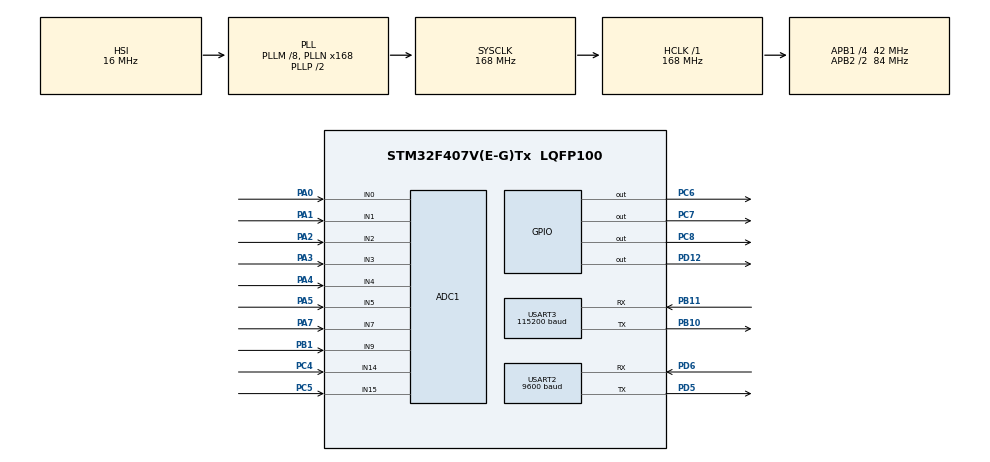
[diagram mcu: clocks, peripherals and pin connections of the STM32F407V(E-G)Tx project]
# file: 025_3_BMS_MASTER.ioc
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ADC1.Channel-0\#ChannelRegularConversion=ADC_CHANNEL_VREFINT
ADC1.Channel-1\#ChannelRegularConversion=ADC_CHANNEL_0
ADC1.Channel-10\#ChannelRegularConversion=ADC_CHANNEL_15
ADC1.Channel-2\#ChannelRegularConversion=ADC_CHANNEL_1
ADC1.Channel-3\#ChannelRegularConversion=ADC_CHANNEL_2
ADC1.Channel-4\#ChannelRegularConversion=ADC_CHANNEL_3
ADC1.Channel-5\#ChannelRegularConversion=ADC_CHANNEL_4
ADC1.Channel-6\#ChannelRegularConversion=ADC_CHANNEL_5
ADC1.Channel-7\#ChannelRegularConversion=ADC_CHANNEL_9
ADC1.Channel-8\#ChannelRegularConversion=ADC_CHANNEL_7
ADC1.Channel-9\#ChannelRegularConversion=ADC_CHANNEL_14
ADC1.ContinuousConvMode=ENABLE
ADC1.DMAContinuousRequests=ENABLE
ADC1.NbrOfConversion=11
ADC1.NbrOfConversionFlag=1
ADC1.Rank-0\#ChannelRegularConversion=1
ADC1.Rank-1\#ChannelRegularConversion=2
ADC1.Rank-10\#ChannelRegularConversion=11
ADC1.Rank-2\#ChannelRegularConversion=3
ADC1.Rank-3\#ChannelRegularConversion=4
ADC1.Rank-4\#ChannelRegularConversion=5
ADC1.Rank-5\#ChannelRegularConversion=6
ADC1.Rank-6\#ChannelRegularConversion=7
ADC1.Rank-7\#ChannelRegularConversion=8
ADC1.Rank-8\#ChannelRegularConversion=9
ADC1.Rank-9\#ChannelRegularConversion=10
ADC1.SamplingTime-0\#ChannelRegularConversion=ADC_SAMPLETIME_84CYCLES
ADC1.SamplingTime-1\#ChannelRegularConversion=ADC_SAMPLETIME_84CYCLES
ADC1.SamplingTime-10\#ChannelRegularConversion=ADC_SAMPLETIME_84CYCLES
ADC1.SamplingTime-2\#ChannelRegularConversion=ADC_SAMPLETIME_84CYCLES
ADC1.SamplingTime-3\#ChannelRegularConversion=ADC_SAMPLETIME_84CYCLES
ADC1.SamplingTime-4\#ChannelRegularConversion=ADC_SAMPLETIME_84CYCLES
ADC1.SamplingTime-5\#ChannelRegularConversion=ADC_SAMPLETIME_84CYCLES
ADC1.SamplingTime-6\#ChannelRegularConversion=ADC_SAMPLETIME_84CYCLES
ADC1.SamplingTime-7\#ChannelRegularConversion=ADC_SAMPLETIME_84CYCLES
ADC1.SamplingTime-8\#ChannelRegularConversion=ADC_SAMPLETIME_84CYCLES
ADC1.SamplingTime-9\#ChannelRegularConversion=ADC_SAMPLETIME_84CYCLES
ADC1.ScanConvMode=ENABLE
ADC1.master=1
Dma.ADC1.1.Direction=DMA_PERIPH_TO_MEMORY
Dma.ADC1.1.FIFOMode=DMA_FIFOMODE_DISABLE
Dma.ADC1.1.Instance=DMA2_Stream0
Dma.ADC1.1.MemDataAlignment=DMA_MDATAALIGN_HALFWORD
Dma.ADC1.1.MemInc=DMA_MINC_ENABLE
Dma.ADC1.1.Mode=DMA_CIRCULAR
Dma.ADC1.1.PeriphDataAlignment=DMA_PDATAALIGN_HALFWORD
Dma.ADC1.1.PeriphInc=DMA_PINC_DISABLE
Dma.ADC1.1.Priority=DMA_PRIORITY_HIGH
Dma.Request0=USART2_RX
Dma.Request1=ADC1
Dma.USART2_RX.0.Direction=DMA_PERIPH_TO_MEMORY
Dma.USART2_RX.0.FIFOMode=DMA_FIFOMODE_DISABLE
Dma.USART2_RX.0.Instance=DMA1_Stream5
Dma.USART2_RX.0.MemDataAlignment=DMA_MDATAALIGN_BYTE
Dma.USART2_RX.0.MemInc=DMA_MINC_ENABLE
Dma.USART2_RX.0.Mode=DMA_NORMAL
Dma.USART2_RX.0.PeriphDataAlignment=DMA_PDATAALIGN_BYTE
Dma.USART2_RX.0.PeriphInc=DMA_PINC_DISABLE
Dma.USART2_RX.0.Priority=DMA_PRIORITY_MEDIUM
Mcu.Family=STM32F4
Mcu.Name=STM32F407V(E-G)Tx
Mcu.Package=LQFP100
NVIC.DMA1_Stream5_IRQn=true\:0\:0\:false\:false\:true\:false\:true
NVIC.DMA2_Stream0_IRQn=true\:0\:0\:false\:false\:true\:false\:true
NVIC.PriorityGroup=NVIC_PRIORITYGROUP_4
PA0-WKUP.Signal=ADCx_IN0
PA1.Signal=ADCx_IN1
PA13.Mode=Serial_Wire
PA13.Signal=SYS_JTMS-SWDIO
PA14.Mode=Serial_Wire
PA14.Signal=SYS_JTCK-SWCLK
PA2.Signal=ADCx_IN2
PA3.Signal=ADCx_IN3
PA4.Signal=ADCx_IN4
PA5.Signal=ADCx_IN5
PA7.Signal=ADCx_IN7
PB1.Signal=ADCx_IN9
PB10.Mode=Asynchronous
PB10.Signal=USART3_TX
PB11.Mode=Asynchronous
PB11.Signal=USART3_RX
PC4.Signal=ADCx_IN14
PC5.Signal=ADCx_IN15
PC6.GPIO_PuPd=GPIO_PULLDOWN
PC6.Signal=GPIO_Output
PC7.GPIO_PuPd=GPIO_PULLDOWN
PC7.Signal=GPIO_Output
PC8.GPIO_PuPd=GPIO_PULLUP
PC8.PinState=GPIO_PIN_SET
PC8.Signal=GPIO_Output
PD12.Signal=GPIO_Output
PD5.Mode=Asynchronous
PD5.Signal=USART2_TX
PD6.Mode=Asynchronous
PD6.Signal=USART2_RX
PH0-OSC_IN.Mode=HSE-External-Oscillator
PH0-OSC_IN.Signal=RCC_OSC_IN
PH1-OSC_OUT.Mode=HSE-External-Oscillator
PH1-OSC_OUT.Signal=RCC_OSC_OUT
ProjectManager.HeapSize=0x200
ProjectManager.StackSize=0x400
ProjectManager.TargetToolchain=STM32CubeIDE
RCC.48MHZClocksFreq_Value=84000000
RCC.AHBFreq_Value=168000000
RCC.APB1CLKDivider=RCC_HCLK_DIV4
RCC.APB1Freq_Value=42000000
RCC.APB1TimFreq_Value=84000000
RCC.APB2CLKDivider=RCC_HCLK_DIV2
RCC.APB2Freq_Value=84000000
RCC.APB2TimFreq_Value=168000000
RCC.CortexFreq_Value=168000000
RCC.HCLKFreq_Value=168000000
RCC.HSE_VALUE=8000000
RCC.HSI_VALUE=16000000
RCC.LSE_VALUE=32768
RCC.PLLM=8
RCC.PLLN=168
RCC.SYSCLKFreq_VALUE=168000000
RCC.SYSCLKSource=RCC_SYSCLKSOURCE_PLLCLK
RCC.VCOOutputFreq_Value=336000000
SH.ADCx_IN0.0=ADC1_IN0,IN0
SH.ADCx_IN1.0=ADC1_IN1,IN1
SH.ADCx_IN14.0=ADC1_IN14,IN14
SH.ADCx_IN15.0=ADC1_IN15,IN15
SH.ADCx_IN2.0=ADC1_IN2,IN2
SH.ADCx_IN3.0=ADC1_IN3,IN3
SH.ADCx_IN4.0=ADC1_IN4,IN4
SH.ADCx_IN5.0=ADC1_IN5,IN5
SH.ADCx_IN7.0=ADC1_IN7,IN7
SH.ADCx_IN9.0=ADC1_IN9,IN9
USART2.BaudRate=9600
USART2.VirtualMode=VM_ASYNC
USART3.BaudRate=115200
USART3.VirtualMode=VM_ASYNC
VP_ADC1_Vref_Input.Mode=IN-Vrefint
board=custom

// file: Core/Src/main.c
/* USER CODE BEGIN Header */
/**
  ******************************************************************************
  * @file           : main.c
  * @brief          : Main program body
  ******************************************************************************
  * @attention
  *
  * <h2><center>&copy; Copyright (c) 2021 STMicroelectronics.
  * All rights reserved.</center></h2>
  *
  * This software component is licensed by ST under BSD 3-Clause license,
  * the "License"; You may not use this file except in compliance with the
  * License. You may obtain a copy of the License at:
  *                        opensource.org/licenses/BSD-3-Clause
  *
  ******************************************************************************
  */
/* USER CODE END Header */
#include "main.h"

/* USER CODE BEGIN Includes */

#include "stdio.h"
#include "string.h"
#define VREFIN_CAL ((uint16_t*)((uint32_t)0x1FFF7A2A))

/* USER CODE END Includes */

ADC_HandleTypeDef hadc1;
DMA_HandleTypeDef hdma_adc1;

UART_HandleTypeDef huart2;
UART_HandleTypeDef huart3;
DMA_HandleTypeDef hdma_usart2_rx;

/* USER CODE BEGIN PV */
char al[89] = "";
int  pil[89];
int i=0, j=0;
float piller[16];
float cel[16];

char aksgonder[140] = "";
float Vdda = 0;
float test = 0;
uint16_t adc_value[11];
float V_CEL[4];
float hucre[4];

float CEL_4[4];
float CEL_20[20];
float cel15;
float temp[5];

/* USER CODE END PV */

void SystemClock_Config(void);
static void MX_GPIO_Init(void);
static void MX_DMA_Init(void);
static void MX_USART2_UART_Init(void);
static void MX_ADC1_Init(void);
static void MX_USART3_UART_Init(void);

int main(void)
{

  /* MCU Configuration--------------------------------------------------------*/

  /* Reset of all peripherals, Initializes the Flash interface and the Systick. */
  HAL_Init();

  /* Configure the system clock */
  SystemClock_Config();

  /* Initialize all configured peripherals */
  MX_GPIO_Init();
  MX_DMA_Init();
  MX_USART2_UART_Init();
  MX_ADC1_Init();
  MX_USART3_UART_Init();
  /* USER CODE BEGIN 2 */
  // ik 4 gerilim, 5. sıcaklık , 6-7-8-9-10 sıcaklık değeri
  HAL_ADC_Start_DMA(&hadc1, (uint32_t*)adc_value, 11);
  HAL_GPIO_WritePin(GPIOC, GPIO_PIN_6, SET);

  /* USER CODE END 2 */

  /* Infinite loop */
  /* USER CODE BEGIN WHILE */
  while (1)
  {
	  HAL_GPIO_WritePin(GPIOD, GPIO_PIN_12, SET);
	  //SICAKLIK KISMI
	  for(i=6; 11 > i; i++)
	  {

		  temp[j]=adc_value[i];

		  temp[j]=temp[j]/4095 * Vdda * 100;
		  if(temp[j]>40)
		  {
			  HAL_GPIO_WritePin(GPIOC, GPIO_PIN_8, RESET);
			  if(temp[j]>60)
			  {
				  HAL_GPIO_WritePin(GPIOC, GPIO_PIN_7, SET);
				  if(temp[j]>70)
				  {
					  HAL_GPIO_WritePin(GPIOC, GPIO_PIN_6, RESET);
				  }

			  }
			  else
			  {
				  HAL_GPIO_WritePin(GPIOC, GPIO_PIN_7, RESET);
			  }
		  }
		  else
		  {
			  HAL_GPIO_WritePin(GPIOC, GPIO_PIN_8, SET);
		  }
		  //*100;
		  j++;
	  }
	  j=0;

	  //ADC kısmı
	  test = adc_value[0];
	  Vdda = (float) 3.3 * (*VREFIN_CAL) / test;
	  for(i=1; 4 >= i; i++)
	  {
		  V_CEL[i-1] = adc_value[i];
	  }
	  for(i=0; 3 >= i; i++)
	  {
		  hucre[i] = V_CEL[i] / 4095 * Vdda;
		  V_CEL[i] = V_CEL[i] / 4095 * Vdda;
	  }

	  V_CEL[0] = V_CEL[0] * (22000+680) / 680 * (1.70299/1.719); // GERİLİM BÖLÜCÜ 22K-680K
	  V_CEL[1] = V_CEL[1] * (22000+680) / 680 * (1.80493/1.815); // GERİLİM BÖLÜCÜ 22K-680K
	  V_CEL[2] = V_CEL[2] * (22000+680) / 680 * (1.90687/1.897); // GERİLİM BÖLÜCÜ 22K-680K
	  V_CEL[3] = V_CEL[3] * (22000+680) / 680 * (2.00582/2.041); // GERİLİM BÖLÜCÜ 22K-680K

	  CEL_20[16]=V_CEL[0]-cel15;
	  CEL_20[17]=V_CEL[1]-V_CEL[0];
	  CEL_20[18]=V_CEL[2]-V_CEL[1];
	  CEL_20[19]=V_CEL[3]-V_CEL[2];

//	  HAL_GPIO_TogglePin(GPIOC, GPIO_PIN_6);
//	  HAL_GPIO_TogglePin(GPIOC, GPIO_PIN_7);
//	  HAL_GPIO_TogglePin(GPIOC, GPIO_PIN_8);
//	  HAL_Delay(2000);

	  // UART DAN GELEN VERİYİ KAYDETME KISMI
	 	  HAL_UART_Receive_DMA(&huart2, (uint8_t*)al, 89);
	 	//  HAL_Delay(200);
	 	  for(i=0; 89>i;i++)
	 	  {
	 		  pil[i]=al[i];
	 		  switch(pil[i])
	 		  {

	 		  case 48:
	 		 	  pil[i]=0;
	 		 	  break;
	 		  case 49:
	 			  pil[i]=1;
	 			  break;
	 		  case 50:
	 			  pil[i]=2;
	 			  break;
	 		  case 51:
	 			  pil[i]=3;
	 			  break;
	 		  case 52:
	 			  pil[i]=4;
	 			  break;
	 		  case 53:
	 			  pil[i]=5;
	 			  break;
	 		  case 54:
	 			  pil[i]=6;
	 			  break;
	 		  case 55:
	 			  pil[i]=7;
	 			  break;
	 		  case 56:
	 			  pil[i]=8;
	 			  break;
	 		  case 57:
	 			  pil[i]=9;
	 			  break;
	 		  case 42: //* işareti
	 			  pil[i]=0;
	 			  break;
	 		  case 46:// . işareti
	 			  pil[i]=0;
	 			  break;
	 		  case 44:// , işareti
	 			  pil[i]=0;
	 			  break;
	 		  default:
	 			  break;
	 		  }
	 	  }

	 		 cel[0]=pil[0]*100+pil[2]*10+pil[3];
	 		 cel[1]=pil[5]*100+pil[6]*10+pil[7];
	 		 cel[2]=pil[10]*100+pil[12]*10+pil[13];
	 		 cel[3]=pil[15]*100+pil[17]*10+pil[18];
	 		 cel[4]=pil[20]*100+pil[22]*10+pil[23];
	 		 cel[5]=pil[25]*100+pil[27]*10+pil[28];
	 		 cel[6]=pil[30]*100+pil[32]*10+pil[33];
	 		 cel[7]=pil[35]*100+pil[37]*10+pil[38];
	 		 cel[8]=pil[40]*100+pil[42]*10+pil[43];
	 		 cel[9]=pil[45]*100+pil[47]*10+pil[48];
	 		 cel[10]=pil[50]*100+pil[52]*10+pil[53];
	 		 cel[11]=pil[55]*100+pil[57]*10+pil[58];
	 		 cel[12]=pil[60]*100+pil[62]*10+pil[63];
	 		 cel[13]=pil[65]*100+pil[67]*10+pil[68];
	 		 cel[14]=pil[70]*100+pil[72]*10+pil[73];
	 		 cel[15]=pil[75]*100+pil[77]*10+pil[78];

	 		 cel15=pil[80]*100000+pil[81]*10000+pil[83]*1000+pil[84]*100+pil[85]*10+pil[86];
	 		 cel15=cel15/10000;
	 		 for(i=0; 15 >= i;i++)
	 		 {
	 			CEL_20[i]=cel[i]/100;
	 		 }
	 		  sprintf(aksgonder, "#,%.1f,%.1f,%.1f,%.1f,%.1f,%.1f,%.1f,%.1f,%.1f,%.1f,%.1f,%.1f,%.1f,%.1f,%.1f,%.1f,%.1f,%.1f,%.1f,%.1f,"
	 				  "%.2f,%.1f,%.2f,%.2f,%.2f,%.2f,%.2f,0.0*", CEL_20[0], CEL_20[1],
	 				 CEL_20[2], CEL_20[3], CEL_20[4], CEL_20[5], CEL_20[6], CEL_20[7], CEL_20[8], CEL_20[9], CEL_20[10], CEL_20[11], CEL_20[12],
					 CEL_20[13], CEL_20[14], CEL_20[15], CEL_20[16], CEL_20[17], CEL_20[18], CEL_20[19], V_CEL[3],adc_value[5],temp[0],temp[1],temp[2],temp[3],temp[4]);

 	 		  if(HAL_UART_Transmit(&huart3, (uint8_t*)aksgonder, 140, 5000)!=HAL_OK)
	 	//strlen(gonder)
	 		  {
	 			  Error_Handler();
	 		  }
//,temp[0],temp[1],temp[2],temp[3],temp[4]
//%.2f,%.2f,%.2f,%.2f,%.2f
	 	  HAL_Delay(200);
    /* USER CODE END WHILE */

  }
}

void SystemClock_Config(void)
{
  RCC_OscInitTypeDef RCC_OscInitStruct = {0};
  RCC_ClkInitTypeDef RCC_ClkInitStruct = {0};

  /** Configure the main internal regulator output voltage
  */
  __HAL_RCC_PWR_CLK_ENABLE();
  __HAL_PWR_VOLTAGESCALING_CONFIG(PWR_REGULATOR_VOLTAGE_SCALE1);
  /** Initializes the RCC Oscillators according to the specified parameters
  * in the RCC_OscInitTypeDef structure.
  */
  RCC_OscInitStruct.OscillatorType = RCC_OSCILLATORTYPE_HSI;
  RCC_OscInitStruct.HSIState = RCC_HSI_ON;
  RCC_OscInitStruct.HSICalibrationValue = RCC_HSICALIBRATION_DEFAULT;
  RCC_OscInitStruct.PLL.PLLState = RCC_PLL_ON;
  RCC_OscInitStruct.PLL.PLLSource = RCC_PLLSOURCE_HSI;
  RCC_OscInitStruct.PLL.PLLM = 8;
  RCC_OscInitStruct.PLL.PLLN = 168;
  RCC_OscInitStruct.PLL.PLLP = RCC_PLLP_DIV2;
  RCC_OscInitStruct.PLL.PLLQ = 4;
  if (HAL_RCC_OscConfig(&RCC_OscInitStruct) != HAL_OK)
  {
    Error_Handler();
  }
  /** Initializes the CPU, AHB and APB buses clocks
  */
  RCC_ClkInitStruct.ClockType = RCC_CLOCKTYPE_HCLK|RCC_CLOCKTYPE_SYSCLK
                              |RCC_CLOCKTYPE_PCLK1|RCC_CLOCKTYPE_PCLK2;
  RCC_ClkInitStruct.SYSCLKSource = RCC_SYSCLKSOURCE_PLLCLK;
  RCC_ClkInitStruct.AHBCLKDivider = RCC_SYSCLK_DIV1;
  RCC_ClkInitStruct.APB1CLKDivider = RCC_HCLK_DIV4;
  RCC_ClkInitStruct.APB2CLKDivider = RCC_HCLK_DIV2;

  if (HAL_RCC_ClockConfig(&RCC_ClkInitStruct, FLASH_LATENCY_5) != HAL_OK)
  {
    Error_Handler();
  }
}

static void MX_ADC1_Init(void)
{

  ADC_ChannelConfTypeDef sConfig = {0};

  /** Configure the global features of the ADC (Clock, Resolution, Data Alignment and number of conversion)
  */
  hadc1.Instance = ADC1;
  hadc1.Init.ClockPrescaler = ADC_CLOCK_SYNC_PCLK_DIV4;
  hadc1.Init.Resolution = ADC_RESOLUTION_12B;
  hadc1.Init.ScanConvMode = ENABLE;
  hadc1.Init.ContinuousConvMode = ENABLE;
  hadc1.Init.DiscontinuousConvMode = DISABLE;
  hadc1.Init.ExternalTrigConvEdge = ADC_EXTERNALTRIGCONVEDGE_NONE;
  hadc1.Init.ExternalTrigConv = ADC_SOFTWARE_START;
  hadc1.Init.DataAlign = ADC_DATAALIGN_RIGHT;
  hadc1.Init.NbrOfConversion = 11;
  hadc1.Init.DMAContinuousRequests = ENABLE;
  hadc1.Init.EOCSelection = ADC_EOC_SINGLE_CONV;
  if (HAL_ADC_Init(&hadc1) != HAL_OK)
  {
    Error_Handler();
  }
  /** Configure for the selected ADC regular channel its corresponding rank in the sequencer and its sample time.
  */
  sConfig.Channel = ADC_CHANNEL_VREFINT;
  sConfig.Rank = 1;
  sConfig.SamplingTime = ADC_SAMPLETIME_84CYCLES;
  if (HAL_ADC_ConfigChannel(&hadc1, &sConfig) != HAL_OK)
  {
    Error_Handler();
  }
  /** Configure for the selected ADC regular channel its corresponding rank in the sequencer and its sample time.
  */
  sConfig.Channel = ADC_CHANNEL_0;
  sConfig.Rank = 2;
  if (HAL_ADC_ConfigChannel(&hadc1, &sConfig) != HAL_OK)
  {
    Error_Handler();
  }
  /** Configure for the selected ADC regular channel its corresponding rank in the sequencer and its sample time.
  */
  sConfig.Channel = ADC_CHANNEL_1;
  sConfig.Rank = 3;
  if (HAL_ADC_ConfigChannel(&hadc1, &sConfig) != HAL_OK)
  {
    Error_Handler();
  }
  /** Configure for the selected ADC regular channel its corresponding rank in the sequencer and its sample time.
  */
  sConfig.Channel = ADC_CHANNEL_2;
  sConfig.Rank = 4;
  if (HAL_ADC_ConfigChannel(&hadc1, &sConfig) != HAL_OK)
  {
    Error_Handler();
  }
  /** Configure for the selected ADC regular channel its corresponding rank in the sequencer and its sample time.
  */
  sConfig.Channel = ADC_CHANNEL_3;
  sConfig.Rank = 5;
  if (HAL_ADC_ConfigChannel(&hadc1, &sConfig) != HAL_OK)
  {
    Error_Handler();
  }
  /** Configure for the selected ADC regular channel its corresponding rank in the sequencer and its sample time.
  */
  sConfig.Channel = ADC_CHANNEL_4;
  sConfig.Rank = 6;
  if (HAL_ADC_ConfigChannel(&hadc1, &sConfig) != HAL_OK)
  {
    Error_Handler();
  }
  /** Configure for the selected ADC regular channel its corresponding rank in the sequencer and its sample time.
  */
  sConfig.Channel = ADC_CHANNEL_5;
  sConfig.Rank = 7;
  if (HAL_ADC_ConfigChannel(&hadc1, &sConfig) != HAL_OK)
  {
    Error_Handler();
  }
  /** Configure for the selected ADC regular channel its corresponding rank in the sequencer and its sample time.
  */
  sConfig.Channel = ADC_CHANNEL_9;
  sConfig.Rank = 8;
  if (HAL_ADC_ConfigChannel(&hadc1, &sConfig) != HAL_OK)
  {
    Error_Handler();
  }
  /** Configure for the selected ADC regular channel its corresponding rank in the sequencer and its sample time.
  */
  sConfig.Channel = ADC_CHANNEL_7;
  sConfig.Rank = 9;
  if (HAL_ADC_ConfigChannel(&hadc1, &sConfig) != HAL_OK)
  {
    Error_Handler();
  }
  /** Configure for the selected ADC regular channel its corresponding rank in the sequencer and its sample time.
  */
  sConfig.Channel = ADC_CHANNEL_14;
  sConfig.Rank = 10;
  if (HAL_ADC_ConfigChannel(&hadc1, &sConfig) != HAL_OK)
  {
    Error_Handler();
  }
  /** Configure for the selected ADC regular channel its corresponding rank in the sequencer and its sample time.
  */
  sConfig.Channel = ADC_CHANNEL_15;
  sConfig.Rank = 11;
  if (HAL_ADC_ConfigChannel(&hadc1, &sConfig) != HAL_OK)
  {
    Error_Handler();
  }

}

static void MX_USART2_UART_Init(void)
{

  huart2.Instance = USART2;
  huart2.Init.BaudRate = 9600;
  huart2.Init.WordLength = UART_WORDLENGTH_8B;
  huart2.Init.StopBits = UART_STOPBITS_1;
  huart2.Init.Parity = UART_PARITY_NONE;
  huart2.Init.Mode = UART_MODE_TX_RX;
  huart2.Init.HwFlowCtl = UART_HWCONTROL_NONE;
  huart2.Init.OverSampling = UART_OVERSAMPLING_16;
  if (HAL_UART_Init(&huart2) != HAL_OK)
  {
    Error_Handler();
  }

}

static void MX_USART3_UART_Init(void)
{

  huart3.Instance = USART3;
  huart3.Init.BaudRate = 115200;
  huart3.Init.WordLength = UART_WORDLENGTH_8B;
  huart3.Init.StopBits = UART_STOPBITS_1;
  huart3.Init.Parity = UART_PARITY_NONE;
  huart3.Init.Mode = UART_MODE_TX_RX;
  huart3.Init.HwFlowCtl = UART_HWCONTROL_NONE;
  huart3.Init.OverSampling = UART_OVERSAMPLING_16;
  if (HAL_UART_Init(&huart3) != HAL_OK)
  {
    Error_Handler();
  }

}

static void MX_DMA_Init(void)
{

  /* DMA controller clock enable */
  __HAL_RCC_DMA1_CLK_ENABLE();
  __HAL_RCC_DMA2_CLK_ENABLE();

  /* DMA interrupt init */
  /* DMA1_Stream5_IRQn interrupt configuration */
  HAL_NVIC_SetPriority(DMA1_Stream5_IRQn, 0, 0);
  HAL_NVIC_EnableIRQ(DMA1_Stream5_IRQn);
  /* DMA2_Stream0_IRQn interrupt configuration */
  HAL_NVIC_SetPriority(DMA2_Stream0_IRQn, 0, 0);
  HAL_NVIC_EnableIRQ(DMA2_Stream0_IRQn);

}

static void MX_GPIO_Init(void)
{
  GPIO_InitTypeDef GPIO_InitStruct = {0};

  /* GPIO Ports Clock Enable */
  __HAL_RCC_GPIOH_CLK_ENABLE();
  __HAL_RCC_GPIOA_CLK_ENABLE();
  __HAL_RCC_GPIOC_CLK_ENABLE();
  __HAL_RCC_GPIOB_CLK_ENABLE();
  __HAL_RCC_GPIOD_CLK_ENABLE();

  /*Configure GPIO pin Output Level */
  HAL_GPIO_WritePin(GPIOD, GPIO_PIN_12, GPIO_PIN_RESET);

  /*Configure GPIO pin Output Level */
  HAL_GPIO_WritePin(GPIOC, GPIO_PIN_6|GPIO_PIN_7, GPIO_PIN_RESET);

  /*Configure GPIO pin Output Level */
  HAL_GPIO_WritePin(GPIOC, GPIO_PIN_8, GPIO_PIN_SET);

  /*Configure GPIO pin : PD12 */
  GPIO_InitStruct.Pin = GPIO_PIN_12;
  GPIO_InitStruct.Mode = GPIO_MODE_OUTPUT_PP;
  GPIO_InitStruct.Pull = GPIO_NOPULL;
  GPIO_InitStruct.Speed = GPIO_SPEED_FREQ_LOW;
  HAL_GPIO_Init(GPIOD, &GPIO_InitStruct);

  /*Configure GPIO pins : PC6 PC7 */
  GPIO_InitStruct.Pin = GPIO_PIN_6|GPIO_PIN_7;
  GPIO_InitStruct.Mode = GPIO_MODE_OUTPUT_PP;
  GPIO_InitStruct.Pull = GPIO_PULLDOWN;
  GPIO_InitStruct.Speed = GPIO_SPEED_FREQ_LOW;
  HAL_GPIO_Init(GPIOC, &GPIO_InitStruct);

  /*Configure GPIO pin : PC8 */
  GPIO_InitStruct.Pin = GPIO_PIN_8;
  GPIO_InitStruct.Mode = GPIO_MODE_OUTPUT_PP;
  GPIO_InitStruct.Pull = GPIO_PULLUP;
  GPIO_InitStruct.Speed = GPIO_SPEED_FREQ_LOW;
  HAL_GPIO_Init(GPIOC, &GPIO_InitStruct);

}

void Error_Handler(void)
{
  __disable_irq();
  while (1)
  {
  }
}

/************************ (C) COPYRIGHT STMicroelectronics *****END OF FILE****/
